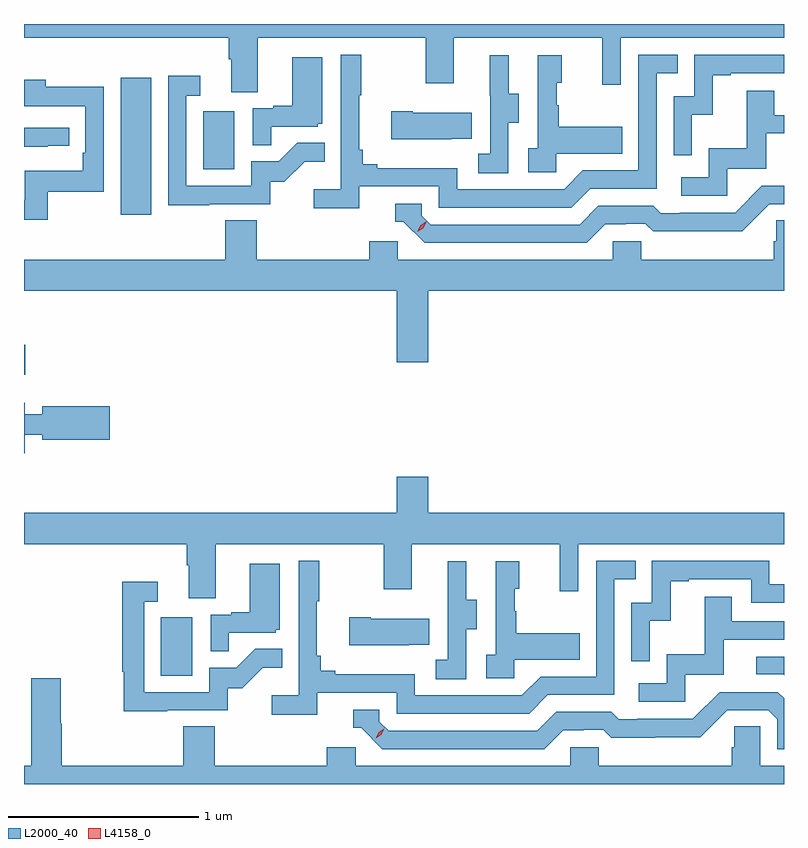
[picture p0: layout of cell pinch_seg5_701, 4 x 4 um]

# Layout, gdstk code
import gdstk
lib = gdstk.Library(unit=1e-6, precision=1e-09)
def R(c, l, rs):  # rectangles x0, y0, x1, y1
    for r in rs: c.add(gdstk.rectangle(r[:2], r[2:], *l))
def P(c, l, *ps):  # polygons
    for p in ps: c.add(gdstk.Polygon(p, *l))
L2000_40 = (2000, 40)
L4158_0 = (4158, 0)

pinch_seg5_701 = lib.new_cell('pinch_seg5_701')
R(pinch_seg5_701, L2000_40, [(1134.794,848.076,1134.958,848.383), (1134.073,849.659,1134.079,849.817), (1134.581,850.5,1134.742,851.221), (1135.016,850.74,1135.18,851.047)])
P(pinch_seg5_701, L2000_40, [(1135.303,851.432),(1136.188,851.432),(1136.188,851.193),(1136.335,851.193),(1136.335,851.432),(1137.116,851.432),(1137.116,851.184),(1137.213,851.184),(1137.213,851.432),(1138.073,851.432),(1138.073,851.505),(1134.073,851.505),(1134.073,851.432),(1135.151,851.432),(1135.151,851.32),(1135.163,851.32),(1135.163,851.146),(1135.303,851.146)],
  [(1135.838,850.65),(1136.256,850.65),(1136.256,850.539),(1136.953,850.539),(1137.052,850.638),(1137.402,850.638),(1137.402,851.247),(1137.515,851.247),(1137.515,851.343),(1137.306,851.343),(1137.306,850.734),(1137.015,850.734),(1136.916,850.635),(1136.352,850.635),(1136.352,850.747),(1135.933,850.747),(1135.933,850.766),(1135.856,850.766),(1135.856,850.843),(1135.837,850.843),(1135.837,851.131),(1135.849,851.131),(1135.849,851.344),(1135.74,851.344),(1135.74,850.636),(1135.599,850.636),(1135.599,850.534),(1135.838,850.534)],
  [(1137.588,851.027),(1137.698,851.027),(1137.698,851.235),(1137.793,851.235),(1137.793,851.247),(1138.073,851.247),(1138.073,851.343),(1137.6,851.343),(1137.6,851.124),(1137.492,851.124),(1137.492,850.815),(1137.588,850.815)],
  [(1136.874,850.823),(1137.221,850.823),(1137.221,850.963),(1136.887,850.963),(1136.887,851.078),(1136.877,851.078),(1136.877,851.196),(1136.902,851.196),(1136.902,851.341),(1136.778,851.341),(1136.778,850.85),(1136.727,850.85),(1136.727,850.725),(1136.874,850.725)],
  [(1136.622,850.984),(1136.677,850.984),(1136.677,851.139),(1136.623,851.139),(1136.623,851.341),(1136.525,851.341),(1136.525,851.127),(1136.526,851.127),(1136.526,850.823),(1136.463,850.823),(1136.463,850.72),(1136.622,850.72)],
  [(1135.373,850.965),(1135.62,850.965),(1135.62,850.98),(1135.642,850.98),(1135.642,851.329),(1135.484,851.329),(1135.484,851.074),(1135.385,851.074),(1135.385,851.061),(1135.278,851.061),(1135.278,850.867),(1135.373,850.867)],
  [(1135.049,850.557),(1135.368,850.557),(1135.368,850.674),(1135.444,850.674),(1135.551,850.781),(1135.655,850.781),(1135.655,850.88),(1135.511,850.88),(1135.413,850.782),(1135.269,850.782),(1135.269,850.653),(1134.927,850.653),(1134.927,851.127),(1135,851.127),(1135,851.233),(1134.831,851.233),(1134.831,850.552),(1135.049,850.552)],
  [(1134.199,850.623),(1134.492,850.623),(1134.492,851.174),(1134.187,851.174),(1134.187,851.212),(1134.073,851.212),(1134.073,851.072),(1134.083,851.072),(1134.083,851.073),(1134.396,851.073),(1134.396,850.828),(1134.383,850.828),(1134.383,850.732),(1134.078,850.732),(1134.078,850.577),(1134.073,850.577),(1134.073,850.476),(1134.199,850.476)],
  [(1137.774,850.743),(1137.979,850.743),(1137.979,850.929),(1138.073,850.929),(1138.073,851.025),(1138.021,851.025),(1138.021,851.155),(1137.877,851.155),(1137.877,850.852),(1137.678,850.852),(1137.678,850.698),(1137.531,850.698),(1137.531,850.602),(1137.774,850.602)],
  [(1136.321,850.901),(1136.429,850.901),(1136.429,851.038),(1136.119,851.038),(1136.119,851.046),(1136.007,851.046),(1136.007,850.898),(1136.321,850.898)],
  [(1134.197,850.863),(1134.31,850.863),(1134.31,850.959),(1134.073,850.959),(1134.073,850.858),(1134.197,850.858)],
  [(1137.133,850.452),(1137.24,850.452),(1137.24,850.455),(1137.343,850.455),(1137.385,850.413),(1137.618,850.413),(1137.618,850.415),(1137.854,850.415),(1137.996,850.557),(1138.073,850.557),(1138.073,850.653),(1137.957,850.653),(1137.816,850.512),(1137.523,850.512),(1137.523,850.509),(1137.424,850.509),(1137.385,850.548),(1137.096,850.548),(1136.997,850.449),(1136.214,850.449),(1136.166,850.497),(1136.166,850.56),(1136.027,850.56),(1136.027,850.464),(1136.07,850.464),(1136.181,850.353),(1137.034,850.353)],
  [(1136.2,850.1),(1138.073,850.1),(1138.073,850.472),(1138.033,850.472),(1138.033,850.362),(1138.019,850.362),(1138.019,850.264),(1137.321,850.264),(1137.321,850.362),(1137.171,850.362),(1137.171,850.264),(1136.04,850.264),(1136.04,850.362),(1135.889,850.362),(1135.889,850.264),(1135.298,850.264),(1135.298,850.472),(1135.133,850.472),(1135.133,850.264),(1134.073,850.264),(1134.073,850.1),(1136.036,850.1),(1136.036,849.726),(1136.2,849.726)],
  [(1134.076,849.342),(1134.17,849.342),(1134.17,849.316),(1134.523,849.316),(1134.523,849.494),(1134.17,849.494),(1134.17,849.452),(1134.076,849.452),(1134.076,849.511),(1134.073,849.511),(1134.073,849.245),(1134.076,849.245)],
  [(1135.081,848.768),(1135.966,848.768),(1135.966,848.529),(1136.113,848.529),(1136.113,848.768),(1136.894,848.768),(1136.894,848.52),(1136.991,848.52),(1136.991,848.768),(1138.073,848.768),(1138.073,848.932),(1136.2,848.932),(1136.2,849.121),(1136.036,849.121),(1136.036,848.932),(1134.073,848.932),(1134.073,848.768),(1134.929,848.768),(1134.929,848.656),(1134.941,848.656),(1134.941,848.482),(1135.081,848.482)],
  [(1135.616,847.986),(1136.034,847.986),(1136.034,847.875),(1136.731,847.875),(1136.83,847.974),(1137.18,847.974),(1137.18,848.583),(1137.293,848.583),(1137.293,848.679),(1137.084,848.679),(1137.084,848.07),(1136.793,848.07),(1136.694,847.971),(1136.13,847.971),(1136.13,848.083),(1135.711,848.083),(1135.711,848.102),(1135.634,848.102),(1135.634,848.179),(1135.615,848.179),(1135.615,848.467),(1135.627,848.467),(1135.627,848.68),(1135.518,848.68),(1135.518,847.972),(1135.377,847.972),(1135.377,847.87),(1135.616,847.87)],
  [(1137.366,848.363),(1137.476,848.363),(1137.476,848.571),(1137.571,848.571),(1137.571,848.583),(1137.9,848.583),(1137.9,848.46),(1138.073,848.46),(1138.073,848.556),(1137.996,848.556),(1137.996,848.679),(1137.378,848.679),(1137.378,848.46),(1137.27,848.46),(1137.27,848.151),(1137.366,848.151)],
  [(1136.652,848.159),(1136.999,848.159),(1136.999,848.299),(1136.665,848.299),(1136.665,848.414),(1136.655,848.414),(1136.655,848.532),(1136.68,848.532),(1136.68,848.677),(1136.556,848.677),(1136.556,848.186),(1136.505,848.186),(1136.505,848.061),(1136.652,848.061)],
  [(1136.4,848.32),(1136.455,848.32),(1136.455,848.475),(1136.401,848.475),(1136.401,848.677),(1136.303,848.677),(1136.303,848.463),(1136.304,848.463),(1136.304,848.159),(1136.241,848.159),(1136.241,848.056),(1136.4,848.056)],
  [(1135.151,848.301),(1135.398,848.301),(1135.398,848.316),(1135.42,848.316),(1135.42,848.665),(1135.262,848.665),(1135.262,848.41),(1135.163,848.41),(1135.163,848.397),(1135.056,848.397),(1135.056,848.203),(1135.151,848.203)],
  [(1134.827,847.893),(1135.146,847.893),(1135.146,848.01),(1135.222,848.01),(1135.329,848.117),(1135.433,848.117),(1135.433,848.216),(1135.289,848.216),(1135.191,848.118),(1135.047,848.118),(1135.047,847.989),(1134.705,847.989),(1134.705,848.463),(1134.778,848.463),(1134.778,848.569),(1134.589,848.569),(1134.589,848.096),(1134.597,848.096),(1134.597,847.888),(1134.827,847.888)],
  [(1137.552,848.079),(1137.757,848.079),(1137.757,848.265),(1138.073,848.265),(1138.073,848.361),(1137.799,848.361),(1137.799,848.491),(1137.655,848.491),(1137.655,848.188),(1137.456,848.188),(1137.456,848.034),(1137.309,848.034),(1137.309,847.938),(1137.552,847.938)],
  [(1136.099,848.237),(1136.207,848.237),(1136.207,848.374),(1135.897,848.374),(1135.897,848.382),(1135.785,848.382),(1135.785,848.234),(1136.099,848.234)],
  [(1138.073,848.175),(1137.927,848.175),(1137.927,848.082),(1138.068,848.082),(1138.073,848.077)],
  [(1138.073,847.6),(1137.948,847.6),(1137.948,847.808),(1137.811,847.808),(1137.811,847.698),(1137.797,847.698),(1137.797,847.6),(1137.099,847.6),(1137.099,847.698),(1136.949,847.698),(1136.949,847.6),(1135.818,847.6),(1135.818,847.698),(1135.667,847.698),(1135.667,847.6),(1135.076,847.6),(1135.076,847.808),(1134.911,847.808),(1134.911,847.6),(1134.272,847.6),(1134.272,847.823),(1134.267,847.823),(1134.267,848.062),(1134.112,848.062),(1134.112,847.6),(1134.073,847.6),(1134.073,847.505),(1138.073,847.505)],
  [(1136.911,847.788),(1137.018,847.788),(1137.018,847.791),(1137.121,847.791),(1137.163,847.749),(1137.396,847.749),(1137.396,847.751),(1137.632,847.751),(1137.774,847.893),(1137.99,847.893),(1138.038,847.845),(1138.038,847.689),(1138.073,847.689),(1138.073,847.957),(1138.041,847.989),(1137.735,847.989),(1137.594,847.848),(1137.301,847.848),(1137.301,847.845),(1137.202,847.845),(1137.163,847.884),(1136.874,847.884),(1136.775,847.785),(1135.992,847.785),(1135.944,847.833),(1135.944,847.896),(1135.805,847.896),(1135.805,847.8),(1135.848,847.8),(1135.959,847.689),(1136.812,847.689)])
P(pinch_seg5_701, L4158_0, [(1136.143,850.411),(1136.143,850.412),(1136.158,850.444),(1136.188,850.464),(1136.189,850.464),(1136.189,850.463),(1136.173,850.431),(1136.143,850.411)],
  [(1135.923,847.745),(1135.923,847.746),(1135.939,847.778),(1135.97,847.797),(1135.97,847.797),(1135.97,847.797),(1135.954,847.765),(1135.923,847.745)])

lib.write_gds('pinch_seg5_701.gds')
